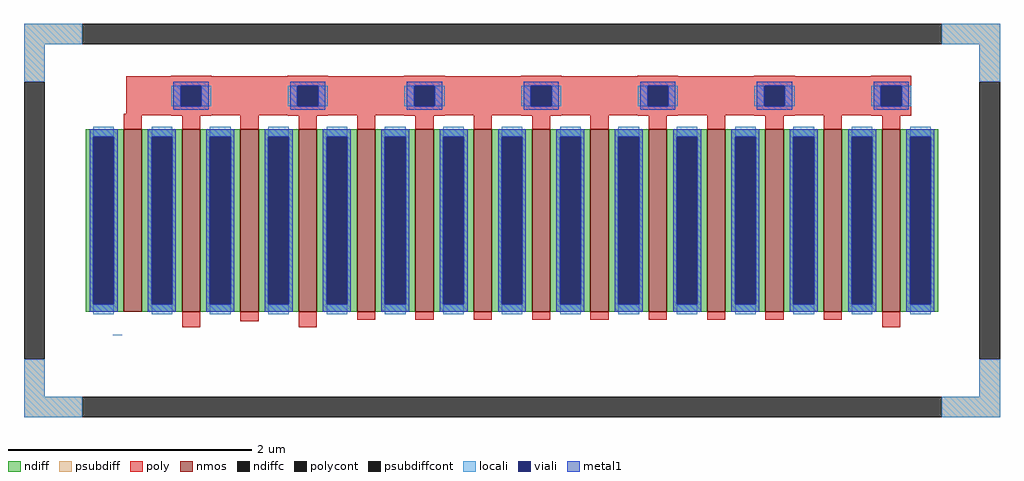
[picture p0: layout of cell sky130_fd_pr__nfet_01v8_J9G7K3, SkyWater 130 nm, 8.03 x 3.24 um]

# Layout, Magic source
magic
tech sky130A
magscale 1 2
<< nmos >>
rect -639 -150 -609 150
rect -543 -150 -513 150
rect -447 -150 -417 150
rect -351 -150 -321 150
rect -255 -150 -225 150
rect -159 -150 -129 150
rect -63 -150 -33 150
rect 33 -150 63 150
rect 129 -150 159 150
rect 225 -150 255 150
rect 321 -150 351 150
rect 417 -150 447 150
rect 513 -150 543 150
rect 609 -150 639 150
<< ndiff >>
rect -701 138 -639 150
rect -701 -138 -689 138
rect -655 -138 -639 138
rect -701 -150 -639 -138
rect -609 138 -543 150
rect -609 -138 -593 138
rect -559 -138 -543 138
rect -609 -150 -543 -138
rect -513 138 -447 150
rect -513 -138 -497 138
rect -463 -138 -447 138
rect -513 -150 -447 -138
rect -417 138 -351 150
rect -417 -138 -401 138
rect -367 -138 -351 138
rect -417 -150 -351 -138
rect -321 138 -255 150
rect -321 -138 -305 138
rect -271 -138 -255 138
rect -321 -150 -255 -138
rect -225 138 -159 150
rect -225 -138 -209 138
rect -175 -138 -159 138
rect -225 -150 -159 -138
rect -129 138 -63 150
rect -129 -138 -113 138
rect -79 -138 -63 138
rect -129 -150 -63 -138
rect -33 138 33 150
rect -33 -138 -17 138
rect 17 -138 33 138
rect -33 -150 33 -138
rect 63 138 129 150
rect 63 -138 79 138
rect 113 -138 129 138
rect 63 -150 129 -138
rect 159 138 225 150
rect 159 -138 175 138
rect 209 -138 225 138
rect 159 -150 225 -138
rect 255 138 321 150
rect 255 -138 271 138
rect 305 -138 321 138
rect 255 -150 321 -138
rect 351 138 417 150
rect 351 -138 367 138
rect 401 -138 417 138
rect 351 -150 417 -138
rect 447 138 513 150
rect 447 -138 463 138
rect 497 -138 513 138
rect 447 -150 513 -138
rect 543 138 609 150
rect 543 -138 559 138
rect 593 -138 609 138
rect 543 -150 609 -138
rect 639 138 701 150
rect 639 -138 655 138
rect 689 -138 701 138
rect 639 -150 701 -138
<< ndiffc >>
rect -689 -138 -655 138
rect -593 -138 -559 138
rect -497 -138 -463 138
rect -401 -138 -367 138
rect -305 -138 -271 138
rect -209 -138 -175 138
rect -113 -138 -79 138
rect -17 -138 17 138
rect 79 -138 113 138
rect 175 -138 209 138
rect 271 -138 305 138
rect 367 -138 401 138
rect 463 -138 497 138
rect 559 -138 593 138
rect 655 -138 689 138
<< psubdiff >>
rect -803 290 -707 324
rect 707 290 803 324
rect -803 228 -769 290
rect 769 228 803 290
rect -803 -290 -769 -228
rect 769 -290 803 -228
rect -803 -324 -707 -290
rect 707 -324 803 -290
<< psubdiffcont >>
rect -707 290 707 324
rect -803 -228 -769 228
rect 769 -228 803 228
rect -707 -324 707 -290
<< poly >>
rect -561 237 -495 238
rect -369 237 -303 238
rect -177 237 -111 238
rect 15 237 81 238
rect 207 237 273 238
rect 399 237 465 238
rect 591 237 657 238
rect -635 222 657 237
rect -635 188 -545 222
rect -511 188 -353 222
rect -319 188 -161 222
rect -127 188 31 222
rect 65 188 223 222
rect 257 188 415 222
rect 449 188 607 222
rect 641 188 657 222
rect -635 176 657 188
rect -639 173 657 176
rect -639 150 -609 173
rect -561 172 -495 173
rect -543 150 -513 172
rect -447 150 -417 173
rect -369 172 -303 173
rect -351 150 -321 172
rect -255 150 -225 173
rect -177 172 -111 173
rect -159 150 -129 172
rect -63 150 -33 173
rect 15 172 81 173
rect 33 150 63 172
rect 129 150 159 173
rect 207 172 273 173
rect 225 150 255 172
rect 321 150 351 173
rect 399 172 465 173
rect 417 150 447 172
rect 513 150 543 173
rect 591 172 657 173
rect 609 150 639 172
rect -543 -176 -513 -150
rect -447 -166 -417 -150
rect -351 -176 -321 -150
rect -255 -163 -225 -150
rect -159 -163 -129 -150
rect -63 -163 -33 -150
rect 33 -163 63 -150
rect 129 -163 159 -150
rect 225 -163 255 -150
rect 321 -163 351 -150
rect 417 -163 447 -150
rect 513 -163 543 -150
rect 609 -176 639 -150
<< polycont >>
rect -545 188 -511 222
rect -353 188 -319 222
rect -161 188 -127 222
rect 31 188 65 222
rect 223 188 257 222
rect 415 188 449 222
rect 607 188 641 222
<< locali >>
rect -803 290 -707 324
rect 707 290 803 324
rect -803 228 -769 290
rect 769 228 803 290
rect -561 188 -545 222
rect -511 188 -495 222
rect -369 188 -353 222
rect -319 188 -303 222
rect -177 188 -161 222
rect -127 188 -111 222
rect 15 188 31 222
rect 65 188 81 222
rect 207 188 223 222
rect 257 188 273 222
rect 399 188 415 222
rect 449 188 465 222
rect 591 188 607 222
rect 641 188 657 222
rect -689 138 -655 154
rect -689 -154 -655 -138
rect -593 138 -559 154
rect -593 -154 -559 -138
rect -497 138 -463 154
rect -497 -154 -463 -138
rect -401 138 -367 154
rect -401 -154 -367 -138
rect -305 138 -271 154
rect -305 -154 -271 -138
rect -209 138 -175 154
rect -209 -154 -175 -138
rect -113 138 -79 154
rect -113 -154 -79 -138
rect -17 138 17 154
rect -17 -154 17 -138
rect 79 138 113 154
rect 79 -154 113 -138
rect 175 138 209 154
rect 175 -154 209 -138
rect 271 138 305 154
rect 271 -154 305 -138
rect 367 138 401 154
rect 367 -154 401 -138
rect 463 138 497 154
rect 463 -154 497 -138
rect 559 138 593 154
rect 559 -154 593 -138
rect 655 138 689 154
rect 655 -154 689 -138
rect -657 -189 -641 -188
rect -803 -290 -769 -228
rect 769 -290 803 -228
rect -803 -324 -707 -290
rect 707 -324 803 -290
<< viali >>
rect -545 188 -511 222
rect -353 188 -319 222
rect -161 188 -127 222
rect 31 188 65 222
rect 223 188 257 222
rect 415 188 449 222
rect 607 188 641 222
rect -689 -138 -655 138
rect -593 -138 -559 138
rect -497 -138 -463 138
rect -401 -138 -367 138
rect -305 -138 -271 138
rect -209 -138 -175 138
rect -113 -138 -79 138
rect -17 -138 17 138
rect 79 -138 113 138
rect 175 -138 209 138
rect 271 -138 305 138
rect 367 -138 401 138
rect 463 -138 497 138
rect 559 -138 593 138
rect 655 -138 689 138
<< metal1 >>
rect -557 222 -499 228
rect -557 188 -545 222
rect -511 188 -499 222
rect -557 182 -499 188
rect -365 222 -307 228
rect -365 188 -353 222
rect -319 188 -307 222
rect -365 182 -307 188
rect -173 222 -115 228
rect -173 188 -161 222
rect -127 188 -115 222
rect -173 182 -115 188
rect 19 222 77 228
rect 19 188 31 222
rect 65 188 77 222
rect 19 182 77 188
rect 211 222 269 228
rect 211 188 223 222
rect 257 188 269 222
rect 211 182 269 188
rect 403 222 461 228
rect 403 188 415 222
rect 449 188 461 222
rect 403 182 461 188
rect 595 222 653 228
rect 595 188 607 222
rect 641 188 653 222
rect 595 182 653 188
rect -695 138 -649 150
rect -695 -138 -689 138
rect -655 -138 -649 138
rect -695 -150 -649 -138
rect -599 138 -553 150
rect -599 -138 -593 138
rect -559 -138 -553 138
rect -599 -150 -553 -138
rect -503 138 -457 150
rect -503 -138 -497 138
rect -463 -138 -457 138
rect -503 -150 -457 -138
rect -407 138 -361 150
rect -407 -138 -401 138
rect -367 -138 -361 138
rect -407 -150 -361 -138
rect -311 138 -265 150
rect -311 -138 -305 138
rect -271 -138 -265 138
rect -311 -150 -265 -138
rect -215 138 -169 150
rect -215 -138 -209 138
rect -175 -138 -169 138
rect -215 -150 -169 -138
rect -119 138 -73 150
rect -119 -138 -113 138
rect -79 -138 -73 138
rect -119 -150 -73 -138
rect -23 138 23 150
rect -23 -138 -17 138
rect 17 -138 23 138
rect -23 -150 23 -138
rect 73 138 119 150
rect 73 -138 79 138
rect 113 -138 119 138
rect 73 -150 119 -138
rect 169 138 215 150
rect 169 -138 175 138
rect 209 -138 215 138
rect 169 -150 215 -138
rect 265 138 311 150
rect 265 -138 271 138
rect 305 -138 311 138
rect 265 -150 311 -138
rect 361 138 407 150
rect 361 -138 367 138
rect 401 -138 407 138
rect 361 -150 407 -138
rect 457 138 503 150
rect 457 -138 463 138
rect 497 -138 503 138
rect 457 -150 503 -138
rect 553 138 599 150
rect 553 -138 559 138
rect 593 -138 599 138
rect 553 -150 599 -138
rect 649 138 695 150
rect 649 -138 655 138
rect 689 -138 695 138
rect 649 -150 695 -138
<< properties >>
string gencell sky130_fd_pr__nfet_01v8
string FIXED_BBOX -786 -307 786 307
string parameters w 1.5 l 0.150 m 1 nf 14 diffcov 100 polycov 100 guard 1 glc 1 grc 1 gtc 1 gbc 1 tbcov 100 rlcov 100 topc 0 botc 0 poverlap 1 doverlap 1 lmin 0.15 wmin 0.42 compatible {sky130_fd_pr__nfet_01v8 sky130_fd_pr__nfet_01v8_lvt  sky130_fd_bs_flash__special_sonosfet_star  sky130_fd_pr__nfet_g5v0d10v5 sky130_fd_pr__nfet_05v0_nvt} full_metal 1 viasrc 100 viadrn 100 viagate 100 viagb 0 viagr 0 viagl 0 viagt 0
string library sky130
<< end >>
